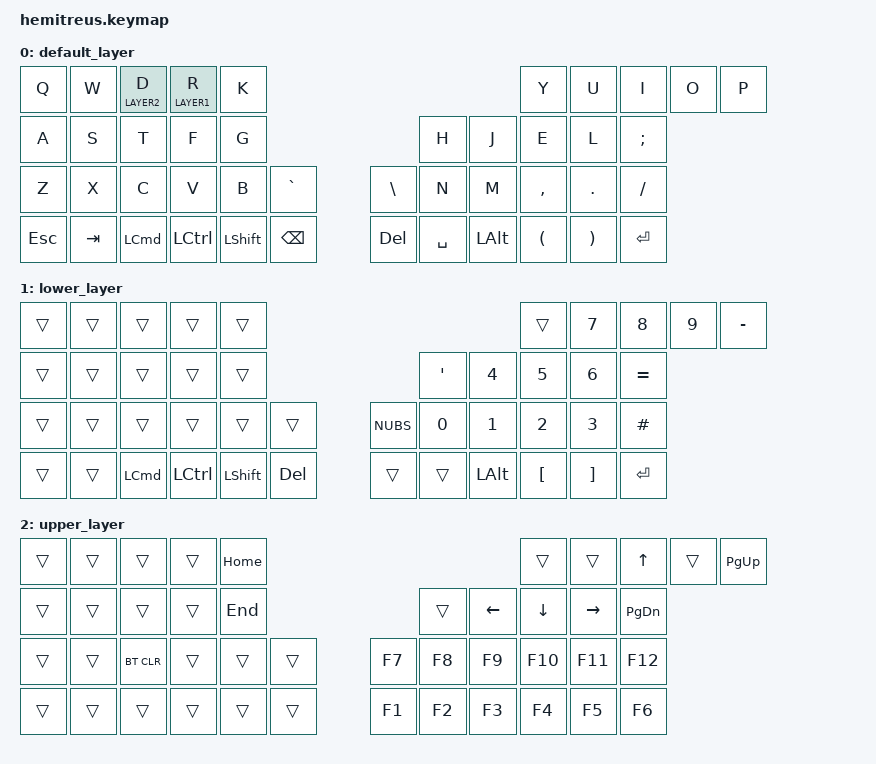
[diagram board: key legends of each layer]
#include <behaviors.dtsi>
#include <dt-bindings/zmk/keys.h>
#include <dt-bindings/zmk/bt.h>

#define LAYER0 0
#define LAYER1 1
#define LAYER2 2

&lt {
    tapping-term-ms = <125>;
    retro-tap;
};

/ {
        keymap {
                compatible = "zmk,keymap";

                default_layer {
// ---------------------------------------------------------------------------------
// |   Q  |  W  |  D  |  R  |  K  |                 |  Y  |  U  |  I  |  O  |  P   |
// |   A  |  S  |  T  |  F  |  G  |                 |  H  |  J  |  E  |  L  |  ;   |
// |   Z  |  X  |  C  |  V  |  B  |  `  |     |  \  |  N  |  M  |  ,  |  .  |  /   |
// | ESC  | TAB | META|LCTRL|LSHFT| BSPC|     | DEL | SPC | LALT|  [  |  ]  | ENT  |

                        bindings = <
   &kp Q      &kp W     &lt LAYER2 D     &lt LAYER1 R      &kp K                                      &kp Y   &kp U      &kp I     &kp O     &kp P
   &kp A      &kp S     &kp T     &kp F      &kp G                                      &kp H   &kp J      &kp E     &kp L     &kp SEMI
   &kp Z      &kp X     &kp C     &kp V      &kp B      &kp GRAVE            &kp BSLH   &kp N   &kp M      &kp COMMA &kp DOT   &kp SLASH
   &kp ESC    &kp TAB   &kp LCMD  &kp LCTRL  &kp LSHFT  &kp BSPC           &kp DEL    &kp SPACE &kp LALT   &kp LPAR  &kp RPAR  &kp ENTER
                        >;


                };

                lower_layer {
                        bindings = <
   &trans     &trans    &trans     &trans      &trans                                      &trans   &kp N7     &kp N8     &kp N9     &kp MINUS
   &trans     &trans    &trans     &trans      &trans                                      &kp APOS &kp N4     &kp N5     &kp N6     &kp EQUAL
   &trans     &trans    &trans     &trans      &trans     &trans             &kp NUBS     &kp N0   &kp N1    &kp N2    &kp N3    &kp HASH
   &trans     &trans    &kp LCMD   &kp LCTRL   &kp LSHFT  &kp DEL            &trans        &trans &kp LALT   &kp LBKT  &kp RBKT  &kp ENTER
                        >;
                };

                upper_layer {
                        bindings = <
   &trans     &trans    &trans     &trans      &kp HOME                                  &trans   &trans    &kp UP    &trans    &kp PG_UP
   &trans     &trans    &trans     &trans      &kp END                                   &trans   &kp LEFT  &kp DOWN  &kp RIGHT &kp PG_DN
   &trans     &trans    &bt BT_CLR  &trans      &trans      &trans            &kp F7      &kp F8   &kp F9    &kp F10   &kp F11   &kp F12
   &trans     &trans    &trans     &trans      &trans      &trans            &kp F1      &kp F2   &kp F3    &kp F4    &kp F5    &kp F6
                        >;
                };
        };
};
